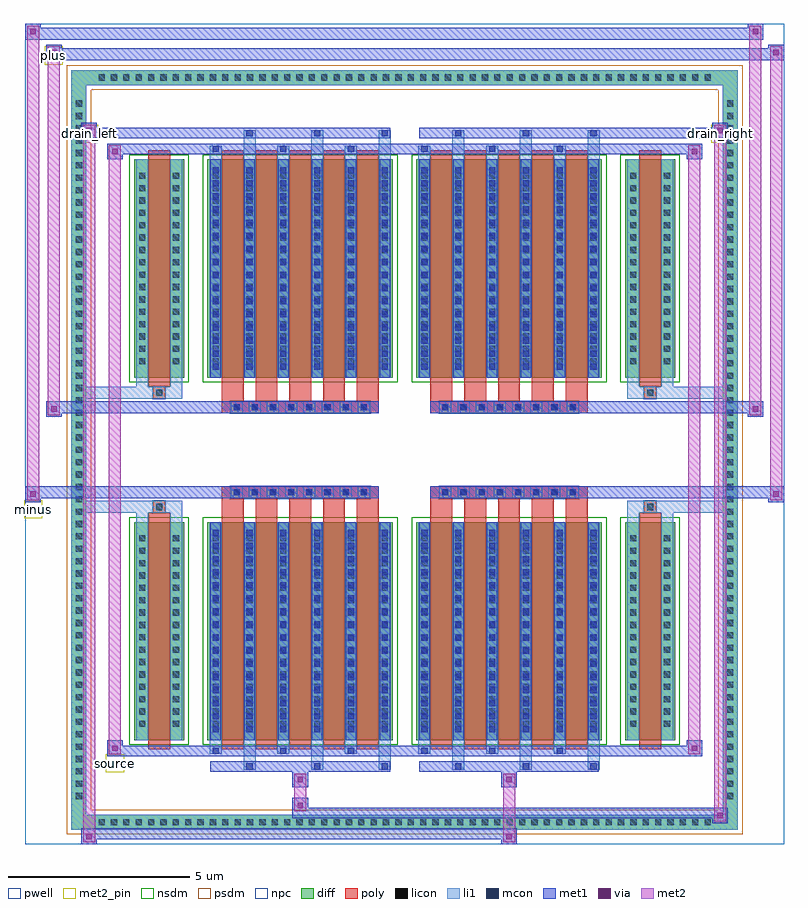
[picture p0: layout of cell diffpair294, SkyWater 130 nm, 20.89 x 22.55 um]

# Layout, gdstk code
import gdstk
lib = gdstk.Library(unit=1e-6, precision=5e-09)
def R(c, l, rs):  # rectangles x0, y0, x1, y1
    for r in rs: c.add(gdstk.rectangle(r[:2], r[2:], *l))
def A(c, l, x, y, w, h, nx, ny, dx, dy):  # array of equal rectangles
    R(c, l, [(x+i*dx, y+j*dy, x+i*dx+w, y+j*dy+h) for i in range(nx) for j in range(ny)])
def P(c, l, *ps):  # polygons
    for p in ps: c.add(gdstk.Polygon(p, *l))
pwell = (64, 44)
diff = (65, 20)
poly = (66, 20)
licon = (66, 44)
li1 = (67, 20)
mcon = (67, 44)
met1 = (68, 20)
via = (68, 44)
met2_pin = (69, 16)
met2 = (69, 20)
nsdm = (93, 44)
psdm = (94, 20)
npc = (95, 20)

diffpair294 = lib.new_cell('diffpair294')
R(diffpair294, pwell, [(-10.43,-10.84,10.43,11.71), (-7.75,-9.03,-0.01,-0.805), (0.01,-9.03,7.75,-0.805), (-7.75,0.805,-0.01,9.03), (0.01,0.805,7.75,9.03)])
A(diffpair294, diff, -8.535, -10.44, 0.41, 0.41, 50, 2, 0.34, 20.47)
A(diffpair294, diff, -9.16, -9.725, 0.41, 0.41, 1, 57, 0, 0.34)
A(diffpair294, diff, 8.75, -9.725, 0.41, 0.41, 1, 57, 0, 0.34)
R(diffpair294, diff, [(-8.535,-10.44,8.535,-10.03), (-9.16,-9.725,-8.75,9.725), (8.75,-9.725,9.16,9.725), (-7.44,-7.985,-6.06,-1.985), (-5.42,-7.985,-0.32,-1.985), (0.32,-7.985,5.42,-1.985), (6.06,-7.985,7.44,-1.985), (-7.44,1.985,-6.06,7.985), (-5.42,1.985,-0.32,7.985), (0.32,1.985,5.42,7.985), (6.06,1.985,7.44,7.985), (-8.535,10.03,8.535,10.44)])
P(diffpair294, diff, [(9.16,10.44),(-9.16,10.44),(-9.16,-10.03),(-8.75,-10.03),(-8.75,10.03),(8.75,10.03),(8.75,-10.03),(-8.75,-10.03),(-9.16,-10.03),(-9.16,-10.44),(9.16,-10.44)])
A(diffpair294, poly, -5.03, -8.235, 0.6, 6.5, 5, 2, 0.93, 9.97)
A(diffpair294, poly, 0.71, -8.235, 0.6, 6.5, 5, 2, 0.93, 9.97)
A(diffpair294, poly, -5.03, -1.735, 0.6, 0.4, 5, 2, 0.93, 3.07)
A(diffpair294, poly, 0.71, -1.735, 0.6, 0.4, 5, 2, 0.93, 3.07)
A(diffpair294, poly, -4.785, -1.335, 0.33, 0.33, 8, 2, 0.5, 2.34)
A(diffpair294, poly, 0.955, -1.335, 0.33, 0.33, 8, 2, 0.5, 2.34)
R(diffpair294, poly, [(-7.05,-8.235,-6.45,-1.735), (6.45,-8.235,7.05,-1.735), (-6.915,-1.735,-6.585,-1.405), (-6.915,-1.735,-6.585,-1.405), (6.585,-1.735,6.915,-1.405), (6.585,-1.735,6.915,-1.405), (-5.03,-1.335,-0.71,-1.005), (0.71,-1.335,5.03,-1.005), (-5.03,1.005,-0.71,1.335), (0.71,1.005,5.03,1.335), (-6.915,1.405,-6.585,1.735), (-6.915,1.405,-6.585,1.735), (6.585,1.405,6.915,1.735), (6.585,1.405,6.915,1.735), (-7.05,1.735,-6.45,8.235), (6.45,1.735,7.05,8.235)])
A(diffpair294, licon, -8.415, -10.32, 0.17, 0.17, 50, 2, 0.34, 20.47)
A(diffpair294, licon, -9.04, -9.605, 0.17, 0.17, 1, 57, 0, 0.34)
A(diffpair294, licon, 8.87, -9.605, 0.17, 0.17, 1, 57, 0, 0.34)
A(diffpair294, licon, -7.3, -7.62, 0.17, 0.17, 1, 16, 0, 0.34)
A(diffpair294, licon, -6.37, -7.62, 0.17, 0.17, 1, 16, 0, 0.34)
A(diffpair294, licon, -5.28, -7.62, 0.17, 0.17, 6, 16, 0.93, 0.34)
A(diffpair294, licon, 0.46, -7.62, 0.17, 0.17, 6, 16, 0.93, 0.34)
A(diffpair294, licon, 6.2, -7.62, 0.17, 0.17, 1, 16, 0, 0.34)
A(diffpair294, licon, 7.13, -7.62, 0.17, 0.17, 1, 16, 0, 0.34)
A(diffpair294, licon, -4.705, -1.255, 0.17, 0.17, 8, 2, 0.5, 2.34)
A(diffpair294, licon, 1.035, -1.255, 0.17, 0.17, 8, 2, 0.5, 2.34)
A(diffpair294, licon, -7.3, 2.35, 0.17, 0.17, 1, 16, 0, 0.34)
A(diffpair294, licon, -6.37, 2.35, 0.17, 0.17, 1, 16, 0, 0.34)
A(diffpair294, licon, -5.28, 2.35, 0.17, 0.17, 6, 16, 0.93, 0.34)
A(diffpair294, licon, 0.46, 2.35, 0.17, 0.17, 6, 16, 0.93, 0.34)
A(diffpair294, licon, 6.2, 2.35, 0.17, 0.17, 1, 16, 0, 0.34)
A(diffpair294, licon, 7.13, 2.35, 0.17, 0.17, 1, 16, 0, 0.34)
R(diffpair294, licon, [(-6.835,-1.655,-6.665,-1.485), (6.665,-1.655,6.835,-1.485), (-6.835,1.485,-6.665,1.655), (6.665,1.485,6.835,1.655)])
A(diffpair294, li1, -8.495, -10.4, 0.33, 0.33, 50, 2, 0.34, 20.47)
A(diffpair294, li1, -9.12, -9.685, 0.33, 0.33, 1, 57, 0, 0.34)
A(diffpair294, li1, 8.79, -9.685, 0.33, 0.33, 1, 57, 0, 0.34)
A(diffpair294, li1, -4.43, -8.79, 0.33, 0.805, 3, 2, 1.86, 16.775)
A(diffpair294, li1, -4.35, -8.79, 0.17, 0.17, 3, 2, 1.86, 17.41)
A(diffpair294, li1, 1.31, -8.79, 0.33, 0.805, 3, 2, 1.86, 16.775)
A(diffpair294, li1, 1.39, -8.79, 0.17, 0.17, 3, 2, 1.86, 17.41)
A(diffpair294, li1, -5.36, -8.36, 0.33, 0.375, 3, 2, 1.86, 16.345)
A(diffpair294, li1, -5.28, -8.36, 0.17, 0.17, 3, 2, 1.86, 16.55)
A(diffpair294, li1, 0.38, -8.36, 0.33, 0.375, 3, 2, 1.86, 16.345)
A(diffpair294, li1, 0.46, -8.36, 0.17, 0.17, 3, 2, 1.86, 16.55)
A(diffpair294, li1, -5.36, -7.985, 0.33, 6, 6, 2, 0.93, 9.97)
A(diffpair294, li1, 0.38, -7.985, 0.33, 6, 6, 2, 0.93, 9.97)
A(diffpair294, li1, -5.28, -7.77, 0.17, 0.17, 6, 16, 0.93, 0.36)
A(diffpair294, li1, -5.28, -7.77, 0.17, 5.57, 6, 2, 0.93, 9.97)
A(diffpair294, li1, 0.46, -7.77, 0.17, 0.17, 6, 16, 0.93, 0.36)
A(diffpair294, li1, 0.46, -7.77, 0.17, 5.57, 6, 2, 0.93, 9.97)
A(diffpair294, li1, -7.38, -7.7, 0.33, 0.33, 1, 16, 0, 0.34)
A(diffpair294, li1, -6.45, -7.7, 0.33, 0.33, 1, 16, 0, 0.34)
A(diffpair294, li1, -5.36, -7.7, 0.33, 0.33, 6, 16, 0.93, 0.34)
A(diffpair294, li1, 0.38, -7.7, 0.33, 0.33, 6, 16, 0.93, 0.34)
A(diffpair294, li1, 6.12, -7.7, 0.33, 0.33, 1, 16, 0, 0.34)
A(diffpair294, li1, 7.05, -7.7, 0.33, 0.33, 1, 16, 0, 0.34)
A(diffpair294, li1, -4.785, -1.335, 0.33, 0.33, 8, 2, 0.5, 2.34)
A(diffpair294, li1, 0.955, -1.335, 0.33, 0.33, 8, 2, 0.5, 2.34)
A(diffpair294, li1, -5.28, 2.2, 0.17, 0.17, 6, 16, 0.93, 0.36)
A(diffpair294, li1, 0.46, 2.2, 0.17, 0.17, 6, 16, 0.93, 0.36)
A(diffpair294, li1, -7.38, 2.27, 0.33, 0.33, 1, 16, 0, 0.34)
A(diffpair294, li1, -6.45, 2.27, 0.33, 0.33, 1, 16, 0, 0.34)
A(diffpair294, li1, -5.36, 2.27, 0.33, 0.33, 6, 16, 0.93, 0.34)
A(diffpair294, li1, 0.38, 2.27, 0.33, 0.33, 6, 16, 0.93, 0.34)
A(diffpair294, li1, 6.12, 2.27, 0.33, 0.33, 1, 16, 0, 0.34)
A(diffpair294, li1, 7.05, 2.27, 0.33, 0.33, 1, 16, 0, 0.34)
R(diffpair294, li1, [(-9.16,-10.44,-8.75,-10.03), (-9.16,-10.44,-8.75,-10.03), (-8.75,-10.44,8.75,-10.03), (8.75,-10.44,9.16,-10.03), (8.75,-10.44,9.16,-10.03), (-9.16,-10.03,-8.75,10.03), (8.75,-10.03,9.16,10.03), (-7.38,-7.985,-7.05,-1.985), (-6.45,-7.985,-6.12,-1.985), (6.12,-7.985,6.45,-1.985), (7.05,-7.985,7.38,-1.985), (-7.38,-1.985,-7.05,-1.405), (-6.45,-1.985,-6.12,-1.405), (6.12,-1.985,6.45,-1.405), (7.05,-1.985,7.38,-1.405), (-9.16,-1.735,-6.915,-1.405), (-7.38,-1.735,-6.915,-1.405), (-6.915,-1.735,-6.585,-1.405), (-6.585,-1.735,-6.12,-1.405), (6.12,-1.735,6.585,-1.405), (6.585,-1.735,6.915,-1.405), (6.585,-1.735,9.16,-1.405), (6.915,-1.735,7.38,-1.405), (-9.16,1.405,-6.915,1.735), (-7.38,1.405,-6.915,1.735), (-7.38,1.405,-7.05,1.985), (-6.915,1.405,-6.585,1.735), (-6.585,1.405,-6.12,1.735), (-6.45,1.405,-6.12,1.985), (6.12,1.405,6.585,1.735), (6.12,1.405,6.45,1.985), (6.585,1.405,6.915,1.735), (6.585,1.405,9.16,1.735), (6.915,1.405,7.38,1.735), (7.05,1.405,7.38,1.985), (-7.38,1.985,-7.05,7.985), (-6.45,1.985,-6.12,7.985), (6.12,1.985,6.45,7.985), (7.05,1.985,7.38,7.985), (-9.16,10.03,-8.75,10.44), (-9.16,10.03,-8.75,10.44), (-8.75,10.03,8.75,10.44), (8.75,10.03,9.16,10.44), (8.75,10.03,9.16,10.44)])
A(diffpair294, mcon, -4.35, -8.79, 0.17, 0.17, 3, 2, 1.86, 17.41)
A(diffpair294, mcon, 1.39, -8.79, 0.17, 0.17, 3, 2, 1.86, 17.41)
A(diffpair294, mcon, -5.28, -8.36, 0.17, 0.17, 3, 2, 1.86, 16.55)
A(diffpair294, mcon, 0.46, -8.36, 0.17, 0.17, 3, 2, 1.86, 16.55)
A(diffpair294, mcon, -5.28, -7.77, 0.17, 0.17, 6, 16, 0.93, 0.36)
A(diffpair294, mcon, 0.46, -7.77, 0.17, 0.17, 6, 16, 0.93, 0.36)
A(diffpair294, mcon, -4.705, -1.255, 0.17, 0.17, 8, 2, 0.5, 2.34)
A(diffpair294, mcon, 1.035, -1.255, 0.17, 0.17, 8, 2, 0.5, 2.34)
A(diffpair294, mcon, -5.28, 2.2, 0.17, 0.17, 6, 16, 0.93, 0.36)
A(diffpair294, mcon, 0.46, 2.2, 0.17, 0.17, 6, 16, 0.93, 0.36)
A(diffpair294, met1, -4.41, -8.85, 0.29, 0.29, 3, 2, 1.86, 17.41)
A(diffpair294, met1, 1.33, -8.85, 0.29, 0.29, 3, 2, 1.86, 17.41)
A(diffpair294, met1, -5.34, -8.42, 0.29, 0.29, 3, 2, 1.86, 16.55)
A(diffpair294, met1, 0.4, -8.42, 0.29, 0.29, 3, 2, 1.86, 16.55)
A(diffpair294, met1, -5.34, -7.985, 0.29, 6, 6, 2, 0.93, 9.97)
A(diffpair294, met1, 0.4, -7.985, 0.29, 6, 6, 2, 0.93, 9.97)
A(diffpair294, met1, -5.34, -7.83, 0.29, 0.29, 6, 16, 0.93, 0.36)
A(diffpair294, met1, 0.4, -7.83, 0.29, 0.29, 6, 16, 0.93, 0.36)
A(diffpair294, met1, -4.765, -1.315, 0.29, 0.29, 8, 2, 0.5, 2.34)
A(diffpair294, met1, 0.975, -1.315, 0.29, 0.29, 8, 2, 0.5, 2.34)
A(diffpair294, met1, -5.34, 2.14, 0.29, 0.29, 6, 16, 0.93, 0.36)
A(diffpair294, met1, 0.4, 2.14, 0.29, 0.29, 6, 16, 0.93, 0.36)
R(diffpair294, met1, [(-8.89,-10.84,-8.46,-10.41), (2.655,-10.84,3.085,-10.41), (-8.89,-10.7,3.085,-10.41), (8.46,-10.27,8.89,-9.84), (-3.085,-10.13,8.89,-9.84), (-3.085,-9.99,-2.655,-9.56), (-3.085,-9.28,-2.655,-8.85), (2.655,-9.28,3.085,-8.85), (-5.34,-8.85,-0.4,-8.56), (0.4,-8.85,5.34,-8.56), (-8.18,-8.42,-7.75,-7.99), (-8.18,-8.42,-5.34,-8.13), (-5.34,-8.42,-0.4,-8.13), (-0.4,-8.42,0.4,-8.13), (0.4,-8.42,5.34,-8.13), (5.34,-8.42,8.18,-8.13), (7.75,-8.42,8.18,-7.99), (-10.43,-1.435,-10,-1.005), (10,-1.435,10.43,-1.005), (-10.43,-1.335,-0.71,-1.005), (-5.03,-1.335,-0.71,-1.005), (0.71,-1.335,5.03,-1.005), (0.71,-1.335,10.43,-1.005), (-9.86,0.905,-9.43,1.335), (9.43,0.905,9.86,1.335), (-9.86,1.005,-5.03,1.335), (-5.03,1.005,-0.71,1.335), (0.71,1.005,5.03,1.335), (5.03,1.005,9.86,1.335), (-8.18,7.99,-7.75,8.42), (7.75,7.99,8.18,8.42), (-8.18,8.13,-5.34,8.42), (-5.34,8.13,-0.4,8.42), (-0.4,8.13,0.4,8.42), (0.4,8.13,5.34,8.42), (5.34,8.13,8.18,8.42), (-8.89,8.56,-8.46,8.99), (-8.89,8.56,-5.34,8.85), (-5.34,8.56,-0.4,8.85), (0.4,8.56,5.34,8.85), (5.34,8.56,8.89,8.85), (8.46,8.56,8.89,8.99), (-9.86,10.71,-9.43,11.14), (-9.86,10.71,-7.75,11.04), (-7.75,10.71,7.75,11.04), (7.75,10.71,10.43,11.04), (10,10.71,10.43,11.14), (-10.43,11.28,-10,11.71), (-10.43,11.28,-7.75,11.61), (-7.75,11.28,7.75,11.61), (7.75,11.28,9.86,11.61), (9.43,11.28,9.86,11.71)])
R(diffpair294, via, [(-8.75,-10.7,-8.6,-10.55), (2.795,-10.7,2.945,-10.55), (8.6,-10.13,8.75,-9.98), (-2.945,-9.85,-2.795,-9.7), (-2.945,-9.14,-2.795,-8.99), (2.795,-9.14,2.945,-8.99), (-8.04,-8.28,-7.89,-8.13), (7.89,-8.28,8.04,-8.13), (-10.29,-1.295,-10.14,-1.145), (10.14,-1.295,10.29,-1.145), (-9.72,1.045,-9.57,1.195), (9.57,1.045,9.72,1.195), (-8.04,8.13,-7.89,8.28), (7.89,8.13,8.04,8.28), (-8.75,8.7,-8.6,8.85), (8.6,8.7,8.75,8.85), (-9.72,10.85,-9.57,11), (10.14,10.85,10.29,11), (-10.29,11.42,-10.14,11.57), (9.57,11.42,9.72,11.57)])
R(diffpair294, met2_pin, [(-8.215,-8.87,-7.715,-8.37), (-10.465,-1.885,-9.965,-1.385), (-8.925,8.44,-8.425,8.94), (8.425,8.44,8.925,8.94), (-9.895,10.59,-9.395,11.09)])
R(diffpair294, met2, [(-8.84,-10.79,-8.51,-10.46), (-8.84,-10.79,-8.51,8.94), (2.705,-10.79,3.035,-10.46), (2.705,-10.46,3.035,-9.23), (8.51,-10.22,8.84,-9.89), (8.51,-10.22,8.84,8.94), (-3.035,-9.94,-2.705,-9.61), (-3.035,-9.61,-2.705,-9.23), (-3.035,-9.23,-2.705,-8.9), (2.705,-9.23,3.035,-8.9), (-8.13,-8.37,-7.8,-8.04), (-8.13,-8.37,-7.8,8.37), (7.8,-8.37,8.13,-8.04), (7.8,-8.37,8.13,8.37), (-10.38,-1.385,-10.05,-1.055), (-10.38,-1.385,-10.05,11.66), (10.05,-1.385,10.38,-1.055), (10.05,-1.385,10.38,11.09), (-9.81,0.955,-9.48,1.285), (-9.81,0.955,-9.48,11.09), (9.48,0.955,9.81,1.285), (9.48,0.955,9.81,11.66), (-8.13,8.04,-7.8,8.37), (7.8,8.04,8.13,8.37), (-8.84,8.61,-8.51,8.94), (8.51,8.61,8.84,8.94), (-9.81,10.76,-9.48,11.09), (10.05,10.76,10.38,11.09), (-10.38,11.33,-10.05,11.66), (9.48,11.33,9.81,11.66)])
P(diffpair294, met2, [(10.38,-1.385),(10.38,-1.385),(10.38,-1.055),(10.38,-1.055)],
  [(10.38,10.76),(10.38,10.76),(10.38,11.09),(10.38,11.09)],
  [(-10.05,-1.385),(-10.05,-1.385),(-10.05,-1.055),(-10.05,-1.055)],
  [(-10.05,11.33),(-10.05,11.33),(-10.05,11.66),(-10.05,11.66)],
  [(9.81,0.955),(9.81,0.955),(9.81,1.285),(9.81,1.285)],
  [(9.81,11.33),(9.81,11.33),(9.81,11.66),(9.81,11.66)],
  [(-9.48,0.955),(-9.48,0.955),(-9.48,1.285),(-9.48,1.285)],
  [(-9.48,10.76),(-9.48,10.76),(-9.48,11.09),(-9.48,11.09)],
  [(-8.51,-10.79),(-8.51,-10.79),(-8.51,-10.46),(-8.51,-10.46)],
  [(-8.51,8.61),(-8.51,8.61),(-8.51,8.94),(-8.51,8.94)],
  [(8.84,-10.22),(8.84,-10.22),(8.84,-9.89),(8.84,-9.89)],
  [(8.84,8.61),(8.84,8.61),(8.84,8.94),(8.84,8.94)],
  [(-7.8,-8.37),(-7.8,-8.37),(-7.8,-8.04),(-7.8,-8.04)],
  [(-7.8,8.04),(-7.8,8.04),(-7.8,8.37),(-7.8,8.37)],
  [(8.13,-8.37),(8.13,-8.37),(8.13,-8.04),(8.13,-8.04)],
  [(8.13,8.04),(8.13,8.04),(8.13,8.37),(8.13,8.37)])
R(diffpair294, nsdm, [(-7.57,-8.115,-5.93,-1.855), (-5.55,-8.115,-0.19,-1.855), (0.19,-8.115,5.55,-1.855), (5.93,-8.115,7.57,-1.855), (-7.57,1.855,-5.93,8.115), (-5.55,1.855,-0.19,8.115), (0.19,1.855,5.55,8.115), (5.93,1.855,7.57,8.115)])
P(diffpair294, psdm, [(9.29,10.57),(-9.29,10.57),(-9.29,-9.9),(-8.62,-9.9),(-8.62,9.9),(8.62,9.9),(8.62,-9.9),(-8.62,-9.9),(-9.29,-9.9),(-9.29,-10.57),(9.29,-10.57)])
A(diffpair294, npc, -4.805, -1.355, 0.37, 0.37, 8, 2, 0.5, 2.34)
A(diffpair294, npc, 0.935, -1.355, 0.37, 0.37, 8, 2, 0.5, 2.34)
R(diffpair294, npc, [(-6.935,-1.755,-6.565,-1.385), (6.565,-1.755,6.935,-1.385), (-4.805,-1.355,-3.935,-0.985), (-4.805,-1.355,-3.935,-0.985), (-4.305,-1.355,-3.435,-0.985), (-4.305,-1.355,-3.435,-0.985), (-3.805,-1.355,-2.935,-0.985), (-3.805,-1.355,-2.935,-0.985), (-3.305,-1.355,-2.435,-0.985), (-3.305,-1.355,-2.435,-0.985), (-2.805,-1.355,-1.935,-0.985), (-2.805,-1.355,-1.935,-0.985), (-2.305,-1.355,-1.435,-0.985), (-2.305,-1.355,-1.435,-0.985), (-1.805,-1.355,-0.935,-0.985), (-1.805,-1.355,-0.935,-0.985), (0.935,-1.355,1.805,-0.985), (0.935,-1.355,1.805,-0.985), (1.435,-1.355,2.305,-0.985), (1.435,-1.355,2.305,-0.985), (1.935,-1.355,2.805,-0.985), (1.935,-1.355,2.805,-0.985), (2.435,-1.355,3.305,-0.985), (2.435,-1.355,3.305,-0.985), (2.935,-1.355,3.805,-0.985), (2.935,-1.355,3.805,-0.985), (3.435,-1.355,4.305,-0.985), (3.435,-1.355,4.305,-0.985), (3.935,-1.355,4.805,-0.985), (3.935,-1.355,4.805,-0.985), (-4.805,0.985,-3.935,1.355), (-4.805,0.985,-3.935,1.355), (-4.305,0.985,-3.435,1.355), (-4.305,0.985,-3.435,1.355), (-3.805,0.985,-2.935,1.355), (-3.805,0.985,-2.935,1.355), (-3.305,0.985,-2.435,1.355), (-3.305,0.985,-2.435,1.355), (-2.805,0.985,-1.935,1.355), (-2.805,0.985,-1.935,1.355), (-2.305,0.985,-1.435,1.355), (-2.305,0.985,-1.435,1.355), (-1.805,0.985,-0.935,1.355), (-1.805,0.985,-0.935,1.355), (0.935,0.985,1.805,1.355), (0.935,0.985,1.805,1.355), (1.435,0.985,2.305,1.355), (1.435,0.985,2.305,1.355), (1.935,0.985,2.805,1.355), (1.935,0.985,2.805,1.355), (2.435,0.985,3.305,1.355), (2.435,0.985,3.305,1.355), (2.935,0.985,3.805,1.355), (2.935,0.985,3.805,1.355), (3.435,0.985,4.305,1.355), (3.435,0.985,4.305,1.355), (3.935,0.985,4.805,1.355), (3.935,0.985,4.805,1.355), (-6.935,1.385,-6.565,1.755), (6.565,1.385,6.935,1.755)])
diffpair294.add(gdstk.Label('minus', (-10.215,-1.635), layer=69, texttype=5))
diffpair294.add(gdstk.Label('drain_right', (8.675,8.69), layer=69, texttype=5))
diffpair294.add(gdstk.Label('drain_left', (-8.675,8.69), layer=69, texttype=5))
diffpair294.add(gdstk.Label('source', (-7.965,-8.62), layer=69, texttype=5))
diffpair294.add(gdstk.Label('plus', (-9.645,10.84), layer=69, texttype=5))

lib.write_gds('diffpair294.gds')
